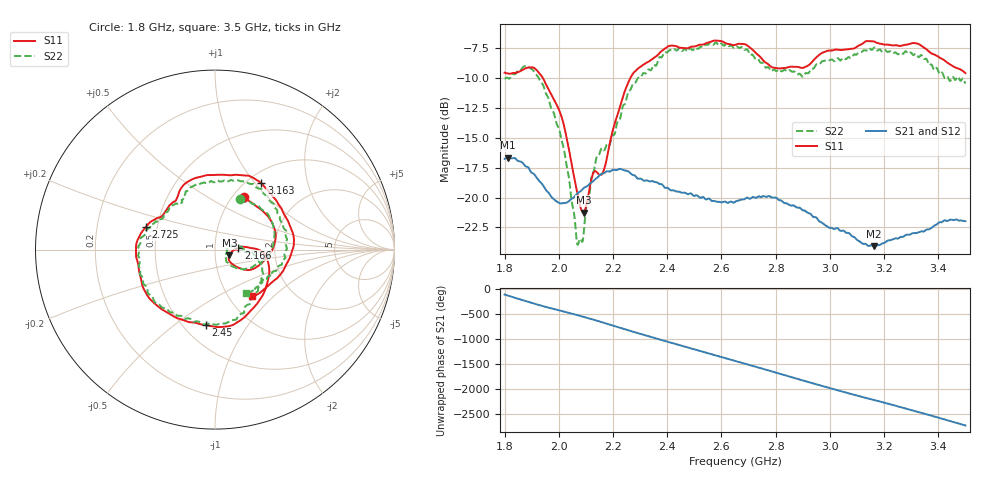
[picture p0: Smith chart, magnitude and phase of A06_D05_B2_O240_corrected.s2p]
! Created with skrf 1.9.0 (http://scikit-rf.org).
# Hz S RI R 50.0
!freq ReS11 ImS11 ReS21 ImS21 ReS12 ImS12 ReS22 ImS22
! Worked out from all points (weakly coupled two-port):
!   1601 points, 1.8 GHz to 3.5 GHz, reference 50 ohm
!   highest |S21| = -16.66 dB at 1.812 GHz (marker M1); lowest = -24.1 dB at 3.162 GHz (marker M2)
!   lowest |S11| = -21.3 dB at 2.091 GHz (marker M3), VSWR 1.19, Z = 58.6 - j3.74 ohm
!   |S11| at or under -10 dB: 1.942 GHz to 2.263 GHz (321.7 MHz wide, 15.3 % of centre)
!   |S22| runs from -24.0 to -7.0 dB; largest |S21 - S12| = 0.0028
!   S11 on the Smith chart (normalised r, x): 1.8 GHz: 1.13, +0.74; 2.166 GHz: 1.30, +0.03; 2.45 GHz: 0.64, -0.66; 2.725 GHz: 0.43, +0.13; 3.163 GHz: 1.16, +1.08; 3.5 GHz: 1.27, -0.75
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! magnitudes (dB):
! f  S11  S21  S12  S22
! 1.8 GHz  -9.5  -16.8  -16.8  -10.0
! 1.812 GHz  -9.6  -16.7  -16.7  -10.0
! 1.881 GHz  -9.1  -17.4  -17.4  -9.0
! 1.942 GHz  -10.0  -19.0  -19.0  -10.6
! 2.013 GHz  -13.4  -20.5  -20.5  -15.4
! 2.067 GHz  -19.5  -19.7  -19.7  -23.7
! 2.084 GHz  -21.1  -19.4  -19.4  -23.6
! 2.091 GHz  -21.3  -19.2  -19.3  -23.2
! 2.128 GHz  -17.9  -18.6  -18.6  -17.8
! 2.166 GHz  -17.7  -18.0  -17.9  -16.0
! 2.26 GHz  -10.2  -17.9  -17.9  -11.0
! 2.367 GHz  -8.0  -18.8  -18.8  -8.4
! 2.45 GHz  -7.4  -19.6  -19.6  -7.6
! 2.65 GHz  -7.2  -20.4  -20.4  -7.5
! 2.725 GHz  -7.8  -20.0  -20.0  -8.4
! 2.799 GHz  -9.1  -20.0  -20.0  -9.3
! 2.934 GHz  -8.6  -21.5  -21.5  -9.2
! 3.162 GHz  -6.9  -24.1  -24.0  -7.4
! 3.163 GHz  -6.9  -24.1  -24.0  -7.4
! 3.217 GHz  -7.2  -23.6  -23.6  -7.8
! 3.325 GHz  -7.1  -22.9  -22.9  -8.2
! 3.5 GHz  -9.6  -22.0  -22.0  -10.4
